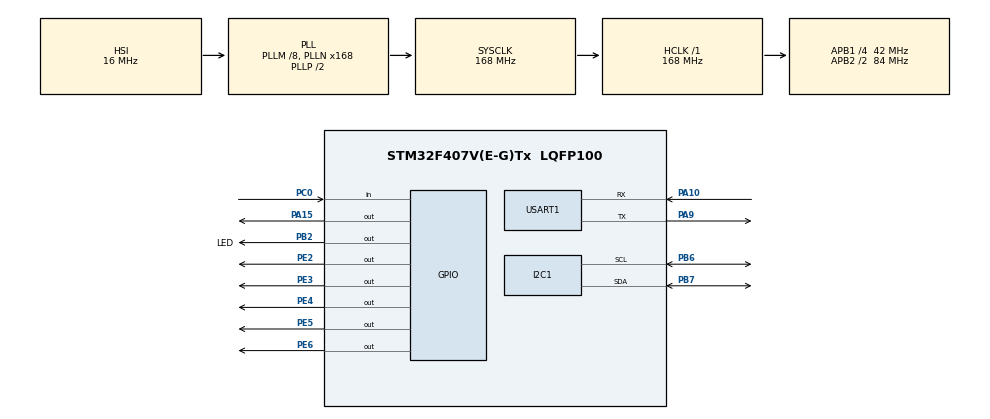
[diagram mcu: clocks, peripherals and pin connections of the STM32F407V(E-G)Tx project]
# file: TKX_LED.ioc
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FREERTOS.Tasks01=defaultTask,24,128,StartDefaultTask,Default,NULL,Dynamic,NULL,NULL
Mcu.Family=STM32F4
Mcu.Name=STM32F407V(E-G)Tx
Mcu.Package=LQFP100
NVIC.PriorityGroup=NVIC_PRIORITYGROUP_4
PA10.Mode=Asynchronous
PA10.Signal=USART1_RX
PA13.Mode=Serial_Wire
PA13.Signal=SYS_JTMS-SWDIO
PA14.Mode=Serial_Wire
PA14.Signal=SYS_JTCK-SWCLK
PA15.Signal=GPIO_Output
PA9.Mode=Asynchronous
PA9.Signal=USART1_TX
PB2.GPIO_Label=LED
PB2.GPIO_Speed=GPIO_SPEED_FREQ_LOW
PB2.PinState=GPIO_PIN_RESET
PB2.Signal=GPIO_Output
PB6.Mode=I2C
PB6.Signal=I2C1_SCL
PB7.Mode=I2C
PB7.Signal=I2C1_SDA
PC0.Signal=GPIO_Input
PE2.GPIO_Speed=GPIO_SPEED_FREQ_VERY_HIGH
PE2.Signal=GPIO_Output
PE3.GPIO_Speed=GPIO_SPEED_FREQ_VERY_HIGH
PE3.Signal=GPIO_Output
PE4.GPIO_Speed=GPIO_SPEED_FREQ_VERY_HIGH
PE4.Signal=GPIO_Output
PE5.GPIO_Speed=GPIO_SPEED_FREQ_VERY_HIGH
PE5.Signal=GPIO_Output
PE6.GPIO_Speed=GPIO_SPEED_FREQ_VERY_HIGH
PE6.Signal=GPIO_Output
PH0-OSC_IN.Mode=HSE-External-Oscillator
PH0-OSC_IN.Signal=RCC_OSC_IN
PH1-OSC_OUT.Mode=HSE-External-Oscillator
PH1-OSC_OUT.Signal=RCC_OSC_OUT
ProjectManager.HeapSize=0x200
ProjectManager.StackSize=0x400
ProjectManager.TargetToolchain=MDK-ARM V5.32
RCC.48MHZClocksFreq_Value=84000000
RCC.AHBFreq_Value=168000000
RCC.APB1CLKDivider=RCC_HCLK_DIV4
RCC.APB1Freq_Value=42000000
RCC.APB1TimFreq_Value=84000000
RCC.APB2CLKDivider=RCC_HCLK_DIV2
RCC.APB2Freq_Value=84000000
RCC.APB2TimFreq_Value=168000000
RCC.CortexFreq_Value=168000000
RCC.HCLKFreq_Value=168000000
RCC.HSE_VALUE=8000000
RCC.HSI_VALUE=16000000
RCC.LSE_VALUE=32768
RCC.PLLM=8
RCC.PLLN=168
RCC.SYSCLKFreq_VALUE=168000000
RCC.SYSCLKSource=RCC_SYSCLKSOURCE_PLLCLK
RCC.VCOOutputFreq_Value=336000000
USART1.VirtualMode=VM_ASYNC
VP_FREERTOS_VS_CMSIS_V2.Mode=CMSIS_V2
board=custom

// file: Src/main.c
/* USER CODE BEGIN Header */
/**
  ******************************************************************************
  * @file           : main.c
  * @brief          : Main program body
  ******************************************************************************
  * @attention
  *
  * Copyright (c) 2025 STMicroelectronics.
  * All rights reserved.
  *
  * This software is licensed under terms that can be found in the LICENSE file
  * in the root directory of this software component.
  * If no LICENSE file comes with this software, it is provided AS-IS.
  *
  ******************************************************************************
  */
/* USER CODE END Header */
#include "main.h"
#include "cmsis_os.h"
#include "i2c.h"
#include "usart.h"
#include "gpio.h"

void SystemClock_Config(void);
void MX_FREERTOS_Init(void);

int main(void)
{

  /* MCU Configuration--------------------------------------------------------*/

  /* Reset of all peripherals, Initializes the Flash interface and the Systick. */
  HAL_Init();

  /* Configure the system clock */
  SystemClock_Config();

  /* Initialize all configured peripherals */
  MX_GPIO_Init();
  MX_USART1_UART_Init();
  MX_I2C1_Init();

  /* Init scheduler */
  osKernelInitialize();

  /* Call init function for freertos objects (in cmsis_os2.c) */
  MX_FREERTOS_Init();

  /* Start scheduler */
  osKernelStart();

  /* We should never get here as control is now taken by the scheduler */

  /* Infinite loop */
  while (1)
  {

  }
}

void SystemClock_Config(void)
{
  RCC_OscInitTypeDef RCC_OscInitStruct = {0};
  RCC_ClkInitTypeDef RCC_ClkInitStruct = {0};

  /** Configure the main internal regulator output voltage
  */
  __HAL_RCC_PWR_CLK_ENABLE();
  __HAL_PWR_VOLTAGESCALING_CONFIG(PWR_REGULATOR_VOLTAGE_SCALE1);

  /** Initializes the RCC Oscillators according to the specified parameters
  * in the RCC_OscInitTypeDef structure.
  */
  RCC_OscInitStruct.OscillatorType = RCC_OSCILLATORTYPE_HSI;
  RCC_OscInitStruct.HSIState = RCC_HSI_ON;
  RCC_OscInitStruct.HSICalibrationValue = RCC_HSICALIBRATION_DEFAULT;
  RCC_OscInitStruct.PLL.PLLState = RCC_PLL_ON;
  RCC_OscInitStruct.PLL.PLLSource = RCC_PLLSOURCE_HSI;
  RCC_OscInitStruct.PLL.PLLM = 8;
  RCC_OscInitStruct.PLL.PLLN = 168;
  RCC_OscInitStruct.PLL.PLLP = RCC_PLLP_DIV2;
  RCC_OscInitStruct.PLL.PLLQ = 4;
  if (HAL_RCC_OscConfig(&RCC_OscInitStruct) != HAL_OK)
  {
    Error_Handler();
  }

  /** Initializes the CPU, AHB and APB buses clocks
  */
  RCC_ClkInitStruct.ClockType = RCC_CLOCKTYPE_HCLK|RCC_CLOCKTYPE_SYSCLK
                              |RCC_CLOCKTYPE_PCLK1|RCC_CLOCKTYPE_PCLK2;
  RCC_ClkInitStruct.SYSCLKSource = RCC_SYSCLKSOURCE_PLLCLK;
  RCC_ClkInitStruct.AHBCLKDivider = RCC_SYSCLK_DIV1;
  RCC_ClkInitStruct.APB1CLKDivider = RCC_HCLK_DIV4;
  RCC_ClkInitStruct.APB2CLKDivider = RCC_HCLK_DIV2;

  if (HAL_RCC_ClockConfig(&RCC_ClkInitStruct, FLASH_LATENCY_5) != HAL_OK)
  {
    Error_Handler();
  }
}

void Error_Handler(void)
{
  __disable_irq();
  while (1)
  {
  }
}

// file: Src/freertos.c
/* USER CODE BEGIN Header */
/**
  ******************************************************************************
  * File Name          : freertos.c
  * Description        : Code for freertos applications
  ******************************************************************************
  * @attention
  *
  * Copyright (c) 2025 STMicroelectronics.
  * All rights reserved.
  *
  * This software is licensed under terms that can be found in the LICENSE file
  * in the root directory of this software component.
  * If no LICENSE file comes with this software, it is provided AS-IS.
  *
  ******************************************************************************
  */
/* USER CODE END Header */

#include "FreeRTOS.h"
#include "task.h"
#include "main.h"
#include "cmsis_os.h"

/* USER CODE BEGIN Includes */
#include "74HC595.h"
#include "74HC165.h"
#include "eeprom.h"
#include "IIC_OLED.h"
/* USER CODE END Includes */

/* Definitions for defaultTask */
osThreadId_t defaultTaskHandle;
const osThreadAttr_t defaultTask_attributes = {
  .name = "defaultTask",
  .stack_size = 128 * 4,
  .priority = (osPriority_t) osPriorityNormal,
};

void StartDefaultTask(void *argument);

void MX_FREERTOS_Init(void); /* (MISRA C 2004 rule 8.1) */

void MX_FREERTOS_Init(void) {

  /* Create the thread(s) */
  /* creation of defaultTask */
  defaultTaskHandle = osThreadNew(StartDefaultTask, NULL, &defaultTask_attributes);

}

void StartDefaultTask(void *argument)
{
  /* USER CODE BEGIN StartDefaultTask */
  HC595_Init(); // Initialize the 74HC595
  HC165_Init(); // Initialize the 74HC165
  uint8_t ioState[3] = {0}; // Buffer to store the state of the 74HC165
  OLED_Init();
  OLED_Clear();
  OLED_Printf(128, 0, 16, 1, "EEPROM Test");
  osDelay(2000); // Delay for 2 seconds
  uint8_t eepromTestResult = EEPROM_Test(); // Test the EEPROM
  if (eepromTestResult)
  {
    OLED_Printf(128, 3, 16, 0, "Passed");
    printf("EEPROM Test Passed\n");
  }
  else
  {
    OLED_Printf(128, 3, 16, 0, "Failed");
    printf("EEPROM Test Failed\n");
  }
  osDelay(2000); // Delay for 2 seconds
  OLED_Clear();
  OLED_Printf(0, 0, 16, 1, "IO State Monitor");
  OLED_Printf(0, 2, 16, 1, "IO[0]: 0x00");
  OLED_Printf(0, 4, 16, 1, "IO[1]: 0x00");
  OLED_Printf(0, 6, 16, 1, "IO[2]: 0x00");
  /* Infinite loop */
  for(;;)
  {
    HAL_GPIO_TogglePin(LED_GPIO_Port, LED_Pin);
    HC595_ToggleIO(0); // Toggle the first IO
    HC595_ToggleIO(1); // Toggle the first IO
    HC595_ToggleIO(2); // Toggle the first IO
    HC595_ToggleIO(3); // Toggle the first IO
    HC165_ReadMultiBytes(ioState, 3); // Read the state of the 74HC165
    // 更新OLED显示的IO状态
    OLED_Printf(0, 2, 16, 1, "IO[0]: 0x%02X", ioState[0]);
    OLED_Printf(0, 4, 16, 1, "IO[1]: 0x%02X", ioState[1]);
    OLED_Printf(0, 6, 16, 1, "IO[2]: 0x%02X", ioState[2]);

    printf("IO State: %02X %02X %02X\n", ioState[0], ioState[1], ioState[2]); // Print the state
    osDelay(100);
  }
  /* USER CODE END StartDefaultTask */
}
